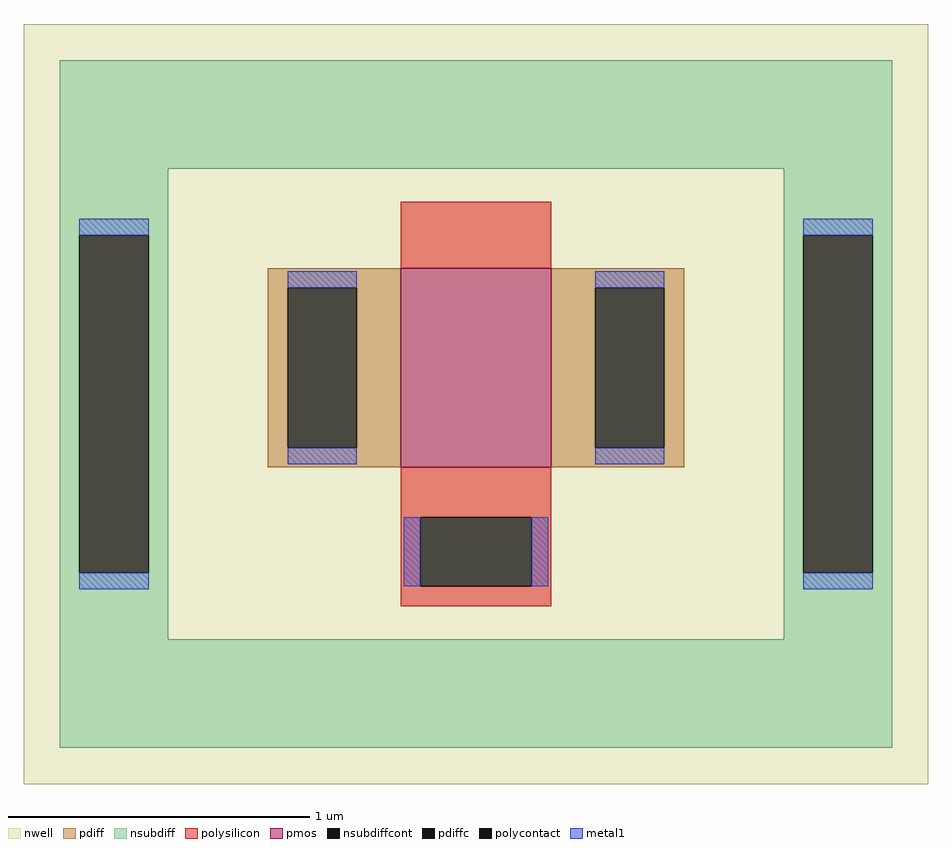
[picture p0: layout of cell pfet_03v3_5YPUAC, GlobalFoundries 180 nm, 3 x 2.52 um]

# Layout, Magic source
magic
tech gf180mcuD
magscale 1 10
<< nwell >>
rect -300 -252 300 252
<< pmos >>
rect -50 -42 50 90
<< pdiff >>
rect -138 77 -50 90
rect -138 -29 -125 77
rect -79 -29 -50 77
rect -138 -42 -50 -29
rect 50 77 138 90
rect 50 -29 79 77
rect 125 -29 138 77
rect 50 -42 138 -29
<< pdiffc >>
rect -125 -29 -79 77
rect 79 -29 125 77
<< nsubdiff >>
rect -276 156 276 228
rect -276 112 -204 156
rect -276 -112 -263 112
rect -217 -112 -204 112
rect 204 112 276 156
rect -276 -156 -204 -112
rect 204 -112 217 112
rect 263 -112 276 112
rect 204 -156 276 -112
rect -276 -228 276 -156
<< nsubdiffcont >>
rect -263 -112 -217 112
rect 217 -112 263 112
<< polysilicon >>
rect -50 90 50 134
rect -50 -75 50 -42
rect -50 -121 -37 -75
rect 37 -121 50 -75
rect -50 -134 50 -121
<< polycontact >>
rect -37 -121 37 -75
<< metal1 >>
rect -263 112 -217 123
rect 217 112 263 123
rect -125 77 -79 88
rect -125 -40 -79 -29
rect 79 77 125 88
rect 79 -40 125 -29
rect -263 -123 -217 -112
rect -48 -121 -37 -75
rect 37 -121 48 -75
rect 217 -123 263 -112
<< properties >>
string FIXED_BBOX -240 -192 240 192
string gencell pfet_03v3
string library gf180mcu
string parameters w 0.66 l 0.5 m 1 nf 1 diffcov 100 polycov 100 guard 1 glc 1 grc 1 gtc 0 gbc 0 tbcov 100 rlcov 100 topc 0 botc 1 poverlap 0 doverlap 1 lmin 0.28 wmin 0.22 class mosfet full_metal 0 compatible {pfet_03v3 pfet_06v0}
<< end >>
